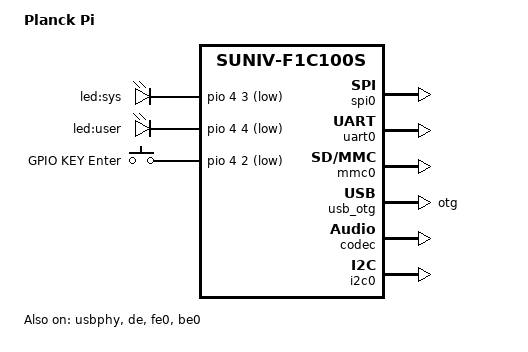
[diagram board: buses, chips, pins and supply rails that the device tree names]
// SPDX-License-Identifier: (GPL-2.0+ OR X11)

/dts-v1/;
#include "suniv-f1c100s.dtsi"

/ {
	model = "Planck Pi";
	compatible = "allwinner,suniv-f1c200s",
			 "allwinner,suniv-f1c100s";

	aliases {
		serial0 = &uart0;
	};

	chosen {
		#address-cells = <1>;
		#size-cells = <1>;
		ranges;

		stdout-path = "serial0:115200n8";
	};

	leds {
		compatible = "gpio-leds";
		status = "okay";

		sys_led {
			label = "led:sys";
			gpios = <&pio 4 3 GPIO_ACTIVE_LOW>; /* PE3 */
			default-state = "on";
		};

		user_led {
			label = "led:user";
			gpios = <&pio 4 4 GPIO_ACTIVE_LOW>; /* PE4 */
		};
	};

	gpio-keys {
		compatible = "gpio-keys";
		autorepeat;
		status = "okay";

		key {
			label = "GPIO KEY Enter";
			linux,code = <KEY_ENTER>;
			gpios = <&pio 4 2 GPIO_ACTIVE_LOW>; /* PE2 */
		};
	};
};

&spi0 {
	status = "okay";
};

&uart0 {
	pinctrl-names = "default";
	pinctrl-0 = <&uart0_pe_pins>;
	status = "okay";
};

/*
&uart1 {
	pinctrl-names = "default";
	pinctrl-0 = <&uart1_pa_pins>;
	status = "okay";
};
*/

&mmc0 {
	status = "okay";
	broken-cd;
};

&otg_sram {
	status = "okay";
};

&usb_otg {
	dr_mode = "otg"; /* host device */
	status = "okay";
};

&usbphy {
	status = "okay";
	usb0_id_det-gpios = <&pio 4 5 (GPIO_ACTIVE_HIGH | GPIO_PULL_UP)>; /* PE5 */
};

/*
&cedar_ve {
	status = "okay";
};
*/

/*
&ion {
	status = "okay";
};
*/

&de {
	status = "okay";
};

&fe0 {
	status = "okay";
};

&be0 {
	status = "okay";
};

/*
&tve0 {
	status = "okay";
};
*/

/*
&tcon0 {
	pinctrl-names = "default";
	pinctrl-0 = <&lcd_rgb565_pins>;
	status = "okay";
};
*/

&codec {
	allwinner,audio-routing =
		"Headphone", "HP",
		"Headphone", "HPCOM",
		"LINEIN", "Line In",
		"FMINL", "Left FM In",
		"FMINR", "Right FM In",
		"MIC", "Mic";
	status = "okay";
};

&i2c0 {
	status = "okay";
	
	/*
	ssd1306fb: ssd1306fb@3c {
		compatible = "solomon,ssd1306fb-i2c";
		reg = <0x3c>;
		solomon,width = <128>;
		solomon,height = <80>;
		reset-gpios = <&pio 3 7 GPIO_ACTIVE_HIGH>; //PD7
		solomon,page-offset = <0>;
		solomon,com-invdir;
		solomon,dclk-frq = <5>;
		debug = <0>;
	};
	*/
};

/*
&csi0 {
	pinctrl-names = "default";
	pinctrl-0 = <&csi0_pins>;
	packed-format;
	status = "okay";

	port {
		csi0_ep: endpoint {
			remote-endpoint = <&ov2640_ep>;
			bus-width = <8>;
			hsync-active = <0>;
			vsync-active = <0>;
			pclk-sample = <1>;
		};
	};
};
*/
